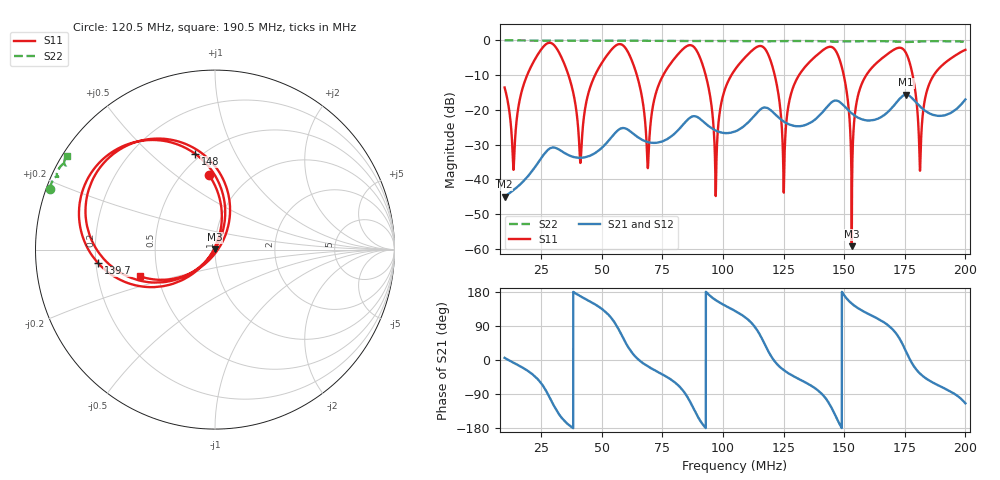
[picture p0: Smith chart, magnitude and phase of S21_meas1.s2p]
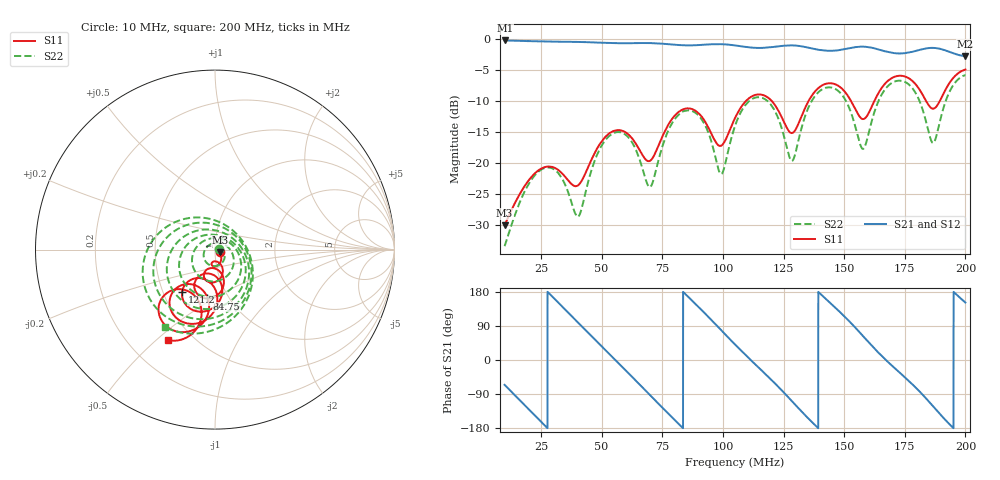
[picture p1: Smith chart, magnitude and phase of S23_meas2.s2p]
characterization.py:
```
import skrf
import matplotlib.pyplot as plt
import numpy as np
import pathlib
base=pathlib.Path(__file__).parent.parent

dataset_s21 = base.joinpath("Data/S21_meas1.s2p") # TX -> RX
dataset_s23 = base.joinpath("Data/S23_meas2.s2p") # Probe -> RX

s21_skrf=skrf.Touchstone(str(dataset_s21))
data=s21_skrf.get_sparameter_data(format='db')

freq=np.array((data["frequency"]).astype(float))/1e6

s21 = data["S21DB"]
s11 = data["S11DB"]
s23_skrf=skrf.Touchstone(str(dataset_s23))
data=s23_skrf.get_sparameter_data(format='db')
s23 = data["S21DB"]


# S21 - TX/RX isolation
plt.figure()
plt.plot(freq, s21, label = "S21 (TX/RX)")
plt.vlines(x = 15, ymin = -50, ymax = 0, linestyles = "dashed")
plt.xlim((10,25))
plt.ylim((-50,0))
plt.title("RX/TX Isolation")
plt.ylabel("S$_{21}$ (dB)")
plt.xlabel("Frequency (MHz)")
plt.grid(True)
plt.savefig("RX_TX_Isolation.png")
plt.show()


# S11 - TX Return Loss
plt.figure()
plt.plot(freq, s11, label = "S21 (TX/RX)")
plt.vlines(x = 15, ymin = -50, ymax = 0, linestyles = "dashed")
plt.xlim((10,25))
plt.ylim((-50,0))
plt.title("TX Return Loss")
plt.ylabel("S$_{11}$ (dB)")
plt.xlabel("Frequency (MHz)")
plt.grid(True)
plt.savefig("S11_TX_ReturnLoss.png")
plt.show()


# S21 - Probe -> RX
plt.figure()
plt.plot(freq, s23)
plt.vlines(x = 15, ymin = -1, ymax = 0, linestyles = "dashed")
plt.xlim((10,25))
plt.ylim((-1,0))
plt.title("Probe/RX Insertion Loss")
plt.ylabel("S$_{23}$ (dB)")
plt.xlabel("Frequency (MHz)")
plt.grid(True)
plt.savefig("S23_ProbeRXInsertionLoss.png")
plt.show()
```
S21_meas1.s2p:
# Hz S DB R 50
! CMT, S5243, 23023023, 22.3.3/5
! Date: 6/29/2023 10:12:38 AM
! Data: Format (Calibration Info)
! Freq	S11:dB/Ang(F2)	S21:dB/Ang(F2)	S12:dB/Ang(F2)	S22:dB/Ang(F2)
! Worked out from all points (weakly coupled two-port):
!   5001 points, 10 MHz to 200 MHz, reference 50 ohm
!   highest |S21| = -15.63 dB at 175.5 MHz (marker M1); lowest = -44.9 dB at 10 MHz (marker M2)
!   lowest |S11| = -59.2 dB at 153.1 MHz (marker M3), VSWR 1.00, Z = 49.9 + j0.0922 ohm
!   |S11| at or under -10 dB: 36.34 MHz to 47.28 MHz (10.94 MHz wide, 26.2 % of centre); 64.54 MHz to 75.38 MHz (10.84 MHz wide, 15.5 % of centre); 92.91 MHz to 103.5 MHz (10.58 MHz wide, 10.8 % of centre)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
!   |S22| runs from -0.4 to 0.0 dB; largest |S21 - S12| = 0.0014
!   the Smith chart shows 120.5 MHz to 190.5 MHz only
!   S11 on the Smith chart (normalised r, x): 120.5 MHz: 0.66, +0.67; 139.7 MHz: 0.21, -0.06; 148 MHz: 0.46, +0.70; 190.5 MHz: 0.40, -0.15
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1e7  -13.54 104.4  -44.94 5.8  -44.96 5.8  0.01 178.2
1.05e8  -8.37 -141.4  -26.20 129.7  -26.20 129.3  -0.13 161.9
1.20466e8  -7.56 94.8  -20.52 4.4  -20.52 4.0  -0.20 159.7
1.25178e8  -41.79 -170.1  -23.35 -27.1  -23.34 -27.5  -0.15 158.8
1.39656e8  -3.67 -173.4  -21.72 -82.6  -21.67 -82.9  -0.19 155.8
1.48016e8  -5.26 101.8  -17.63 -168.0  -17.62 -168.4  -0.30 155.2
1.53146e8  -59.21 122.6  -20.98 148.8  -20.96 148.5  -0.20 154.4
1.75528e8  -3.62 111.7  -15.63 22.4  -15.60 22.3  -0.44 150.3
1.81342e8  -37.03 -55.7  -19.02 -36.2  -19.02 -36.2  -0.26 150.0
1.905e8  -7.10 -160.2  -21.66 -72.1  -21.68 -72.0  -0.21 147.6
2e8  -2.69 156.2  -16.97 -114.4  -17.00 -114.0  -0.38 145.0
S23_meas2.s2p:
# Hz S DB R 50
! CMT, S5243, 23023023, 22.3.3/5
! Date: 6/29/2023 10:13:32 AM
! Data: Format (Calibration Info)
! Freq	S11:dB/Ang(F2)	S21:dB/Ang(F2)	S12:dB/Ang(F2)	S22:dB/Ang(F2)
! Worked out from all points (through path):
!   5001 points, 10 MHz to 200 MHz, reference 50 ohm
!   highest |S21| = -0.19 dB at 10.04 MHz (marker M1); lowest = -2.7 dB at 200 MHz (marker M2)
!   group delay of S21, straight-line fit = 17.9 ns
!   lowest |S11| = -30.1 dB at 10 MHz (marker M3), VSWR 1.06, Z = 52.8 - j1.62 ohm
!   |S11| at or under -10 dB: start of sweep to 109.4 MHz; 120.2 MHz to 135.3 MHz (15.06 MHz wide, 11.8 % of centre); 152.9 MHz to 162.4 MHz (9.55 MHz wide, 6.06 % of centre)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
!   |S22| runs from -33.4 to -5.8 dB; largest |S21 - S12| = 0.0056
!   S11 on the Smith chart (normalised r, x): 10 MHz: 1.06, -0.03; 84.75 MHz: 0.79, -0.47; 121.2 MHz: 0.63, -0.33; 200 MHz: 0.36, -0.54
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1e7  -30.06 -29.2  -0.19 -65.6  -0.20 -65.6  -33.41 12.1
1.0038e7  -30.02 -29.3  -0.19 -65.8  -0.20 -65.9  -33.37 12.1
4.0438e7  -23.55 -83.3  -0.43 97.7  -0.44 97.7  -28.61 96.6
6.8026e7  -19.36 -105.3  -0.61 -79.8  -0.62 -79.8  -22.46 136.1
8.4746e7  -11.19 -99.1  -0.98 172.6  -0.98 172.5  -11.52 -98.1
1.05e8  -12.72 -79.8  -0.99 41.0  -1.00 40.9  -14.00 -31.0
1.21188e8  -10.48 -127.7  -1.23 -59.9  -1.21 -60.0  -11.39 -167.3
1.53298e8  -10.30 -135.1  -1.36 94.4  -1.34 94.4  -12.37 152.5
1.8195e8  -8.68 -138.0  -1.63 -88.7  -1.64 -88.7  -10.87 150.8
1.99962e8  -4.90 -117.6  -2.74 151.8  -2.79 151.6  -5.78 -122.8
2e8  -4.90 -117.7  -2.74 151.6  -2.79 151.4  -5.78 -123.0
